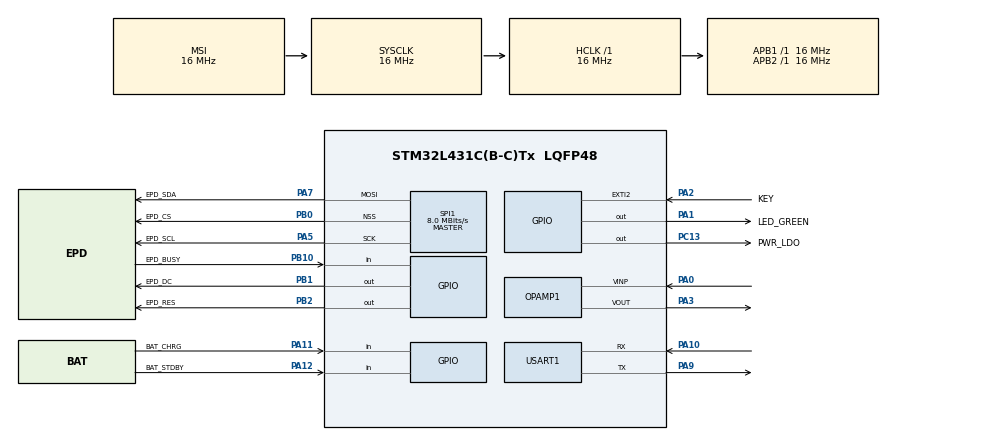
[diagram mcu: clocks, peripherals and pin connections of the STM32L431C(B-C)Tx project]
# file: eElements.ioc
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ADC1.Channel-2\#ChannelRegularConversion=ADC_CHANNEL_8
ADC1.NbrOfConversionFlag=1
ADC1.OffsetNumber-2\#ChannelRegularConversion=ADC_OFFSET_NONE
ADC1.Rank-2\#ChannelRegularConversion=1
ADC1.SamplingTime-2\#ChannelRegularConversion=ADC_SAMPLETIME_12CYCLES_5
ADC1.master=1
Mcu.Family=STM32L4
Mcu.Name=STM32L431C(B-C)Tx
Mcu.Package=LQFP48
NVIC.EXTI2_IRQn=true\:1\:0\:true\:false\:true\:true\:true\:true
NVIC.PriorityGroup=NVIC_PRIORITYGROUP_4
NVIC.RTC_WKUP_IRQn=true\:0\:0\:false\:false\:true\:true\:true\:true
OPAMP1.PowerMode=OPAMP_POWERMODE_NORMALPOWER
PA0.Mode=Follower
PA0.Signal=OPAMP1_VINP
PA1.GPIO_Label=LED_GREEN
PA1.Signal=GPIO_Output
PA10.Mode=Asynchronous
PA10.Signal=USART1_RX
PA11.GPIO_Label=BAT_CHRG
PA11.Signal=GPIO_Input
PA12.GPIO_Label=BAT_STDBY
PA12.Signal=GPIO_Input
PA13\ (JTMS-SWDIO).GPIO_Label=SWDIO
PA13\ (JTMS-SWDIO).Mode=Serial_Wire
PA13\ (JTMS-SWDIO).Signal=SYS_JTMS-SWDIO
PA14\ (JTCK-SWCLK).GPIO_Label=SWCLK
PA14\ (JTCK-SWCLK).Mode=Serial_Wire
PA14\ (JTCK-SWCLK).Signal=SYS_JTCK-SWCLK
PA2.GPIO_Label=KEY
PA2.GPIO_ModeDefaultEXTI=GPIO_MODE_IT_FALLING
PA2.Signal=GPXTI2
PA3.Mode=Follower
PA3.Signal=OPAMP1_VOUT
PA5.GPIO_Label=EPD_SCL
PA5.Mode=TX_Only_Simplex_Unidirect_Master
PA5.Signal=SPI1_SCK
PA7.GPIO_Label=EPD_SDA
PA7.Mode=TX_Only_Simplex_Unidirect_Master
PA7.Signal=SPI1_MOSI
PA9.Mode=Asynchronous
PA9.Signal=USART1_TX
PB0.GPIO_Label=EPD_CS
PB0.Mode=NSS_Signal_Hard_Output
PB0.Signal=SPI1_NSS
PB1.GPIO_Label=EPD_DC
PB1.Signal=GPIO_Output
PB10.GPIO_Label=EPD_BUSY
PB10.Signal=GPIO_Input
PB2.GPIO_Label=EPD_RES
PB2.Signal=GPIO_Output
PC13.GPIO_Label=PWR_LDO
PC13.PinState=GPIO_PIN_RESET
PC13.Signal=GPIO_Output
ProjectManager.HeapSize=0x2000
ProjectManager.StackSize=0x2000
ProjectManager.TargetToolchain=EWARM V8.32
RCC.ADCCLockSelection=RCC_ADCCLKSOURCE_SYSCLK
RCC.ADCFreq_Value=16000000
RCC.AHBFreq_Value=16000000
RCC.APB1Freq_Value=16000000
RCC.APB1TimFreq_Value=16000000
RCC.APB2Freq_Value=16000000
RCC.APB2TimFreq_Value=16000000
RCC.CortexFreq_Value=16000000
RCC.HCLKFreq_Value=16000000
RCC.HSE_VALUE=8000000
RCC.HSI48_VALUE=48000000
RCC.HSI_VALUE=16000000
RCC.LSE_VALUE=32768
RCC.MSIClockRange=RCC_MSIRANGE_8
RCC.MSI_VALUE=16000000
RCC.PWR_Regulator_Voltage_Scale=PWR_REGULATOR_VOLTAGE_SCALE2
RCC.SYSCLKFreq_VALUE=16000000
RCC.USART1CLockSelection=RCC_USART1CLKSOURCE_SYSCLK
RCC.VCOOutputFreq_Value=128000000
RTC.AsynchPrediv=124
RTC.SynchPrediv=255
RTC.WakeUpClock-WakeUp=RTC_WAKEUPCLOCK_RTCCLK_DIV16
RTC.WakeUpCounter-WakeUp=0
SPI1.BaudRatePrescaler=SPI_BAUDRATEPRESCALER_2
SPI1.CalculateBaudRate=8.0 MBits/s
SPI1.DataSize=SPI_DATASIZE_8BIT
SPI1.Direction=SPI_DIRECTION_2LINES
SPI1.Mode=SPI_MODE_MASTER
SPI1.VirtualNSS=VM_NSSHARD
SPI1.VirtualType=VM_MASTER
USART1.VirtualMode-Asynchronous=VM_ASYNC
VP_ADC1_OPAMP1_OUT.Mode=IN8-OPAMP1-Single-Ended
VP_RTC_VS_RTC_Activate.Mode=RTC_Enabled
VP_RTC_VS_RTC_WakeUp_intern.Mode=WakeUp
board=custom

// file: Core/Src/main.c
/* USER CODE BEGIN Header */
/**
 ******************************************************************************
 * @file           : main.c
 * @brief          : Main program body
 ******************************************************************************
 * @attention
 *
 * Copyright (c) 2024 STMicroelectronics.
 * All rights reserved.
 *
 * This software is licensed under terms that can be found in the LICENSE file
 * in the root directory of this software component.
 * If no LICENSE file comes with this software, it is provided AS-IS.
 *
 ******************************************************************************
 */
/* USER CODE END Header */
#include "main.h"
#include "adc.h"
#include "opamp.h"
#include "rtc.h"
#include "spi.h"
#include "usart.h"
#include "gpio.h"

/* USER CODE BEGIN Includes */
#include "stdio.h"
#include "stdlib.h"
#include "string.h"
#include "epd_gui.h"
#include "element.h"
#include "PWR.h"
#include "bsp.h"
#include "battery.h"
#include "parameter.h"
#include "stm32l4xx_hal.h"
/* USER CODE END Includes */

void SystemClock_Config(void);

/* USER CODE BEGIN 0 */
struct parameters runPara;

uint8_t KEY_WKUP = FALSE;

void HAL_GPIO_EXTI_Rising_Callback(uint16_t GPIO_Pin) {
    if (GPIO_Pin == KEY_Pin) {
        KEY_WKUP = TRUE;
    }
}

/* USER CODE END 0 */

int main(void)
{

  /* MCU Configuration--------------------------------------------------------*/

  /* Reset of all peripherals, Initializes the Flash interface and the Systick. */
  HAL_Init();

  /* Configure the system clock */
  SystemClock_Config();

  /* Initialize all configured peripherals */
  MX_GPIO_Init();
  MX_SPI1_Init();
  MX_ADC1_Init();
  MX_OPAMP1_Init();
  MX_RTC_Init();
  MX_USART1_UART_Init();
  /* USER CODE BEGIN 2 */
    WKUP_Deinit();
    KEY_GPIO_Init();
    PWR_LDO_GPIO_Init();
    if (KEY_Hold(5) == KEY_DOWN) {
        PWR_LDO_On();
    }
    else {
        PWR_LDO_Off();
    }

    if (PWR_PowerEnough() == FALSE) {
        EPD_DrawLowVoltage();
        PWR_LDO_Off();
    }
    LoadParameters(&runPara);
    uint8_t frameNum = 0;
    uint16_t stopTime = 0;
    uint16_t remainStopTime = 0;
    //uint64_t totalStopTime = 10 * 2000;
    uint64_t totalStopTime = (runPara.sleepTime - 2) * 2000;
    remainStopTime = totalStopTime;

    for (uint8_t i = frameNum;i < ELEMENT_NUM;i++) {
        if (runPara.showFlag[i] == 1) {
            EPD_DrawFrame(i , runPara.showStr);
            frameNum = i + 1;
            break;
        }
    }

  /* USER CODE END 2 */

  /* Infinite loop */
    while (1)
    {

    /* USER CODE BEGIN 3 */
        if (remainStopTime > 0) {
            if (remainStopTime >= 65535) {
                stopTime = 65535;
                remainStopTime = remainStopTime - 65535;
            }
            else {
                stopTime = remainStopTime;
                remainStopTime = 0;
            }
            PWR_EnterStop2Mode(stopTime);
            PWR_ExitStop2Mode();
            if (KEY_WKUP == TRUE) {
                KEY_WKUP = FALSE;
                remainStopTime = 0;
            }
        }
        else {
            remainStopTime = totalStopTime;
            if (KEY_Hold(5) == KEY_DOWN) {
                EPD_DrawEmpty();
                PWR_LDO_Off();
            }

            if (PWR_PowerEnough() == FALSE) {
                EPD_DrawLowVoltage();
                PWR_LDO_Off();
            }

            if (1) {
                while (1) {
                    if (runPara.showFlag[frameNum] == 1) {
                        EPD_DrawFrame(frameNum , runPara.showStr);
                        frameNum++;
                        break;
                    }
                    else {
                        frameNum++;
                    }
                    if (frameNum >= ELEMENT_NUM) {
                        frameNum = 0;
                    }
                }
            }
            else {

            }
        }
    }
  /* USER CODE END 3 */
}

void SystemClock_Config(void)
{
  RCC_OscInitTypeDef RCC_OscInitStruct = {0};
  RCC_ClkInitTypeDef RCC_ClkInitStruct = {0};

  /** Configure the main internal regulator output voltage
  */
  if (HAL_PWREx_ControlVoltageScaling(PWR_REGULATOR_VOLTAGE_SCALE2) != HAL_OK)
  {
    Error_Handler();
  }

  /** Initializes the RCC Oscillators according to the specified parameters
  * in the RCC_OscInitTypeDef structure.
  */
  RCC_OscInitStruct.OscillatorType = RCC_OSCILLATORTYPE_LSI|RCC_OSCILLATORTYPE_MSI;
  RCC_OscInitStruct.LSIState = RCC_LSI_ON;
  RCC_OscInitStruct.MSIState = RCC_MSI_ON;
  RCC_OscInitStruct.MSICalibrationValue = 0;
  RCC_OscInitStruct.MSIClockRange = RCC_MSIRANGE_8;
  RCC_OscInitStruct.PLL.PLLState = RCC_PLL_NONE;
  if (HAL_RCC_OscConfig(&RCC_OscInitStruct) != HAL_OK)
  {
    Error_Handler();
  }

  /** Initializes the CPU, AHB and APB buses clocks
  */
  RCC_ClkInitStruct.ClockType = RCC_CLOCKTYPE_HCLK|RCC_CLOCKTYPE_SYSCLK
                              |RCC_CLOCKTYPE_PCLK1|RCC_CLOCKTYPE_PCLK2;
  RCC_ClkInitStruct.SYSCLKSource = RCC_SYSCLKSOURCE_MSI;
  RCC_ClkInitStruct.AHBCLKDivider = RCC_SYSCLK_DIV1;
  RCC_ClkInitStruct.APB1CLKDivider = RCC_HCLK_DIV1;
  RCC_ClkInitStruct.APB2CLKDivider = RCC_HCLK_DIV1;

  if (HAL_RCC_ClockConfig(&RCC_ClkInitStruct, FLASH_LATENCY_2) != HAL_OK)
  {
    Error_Handler();
  }
}

void Error_Handler(void)
{
    __disable_irq();
    while (1)
    {
    }
}
